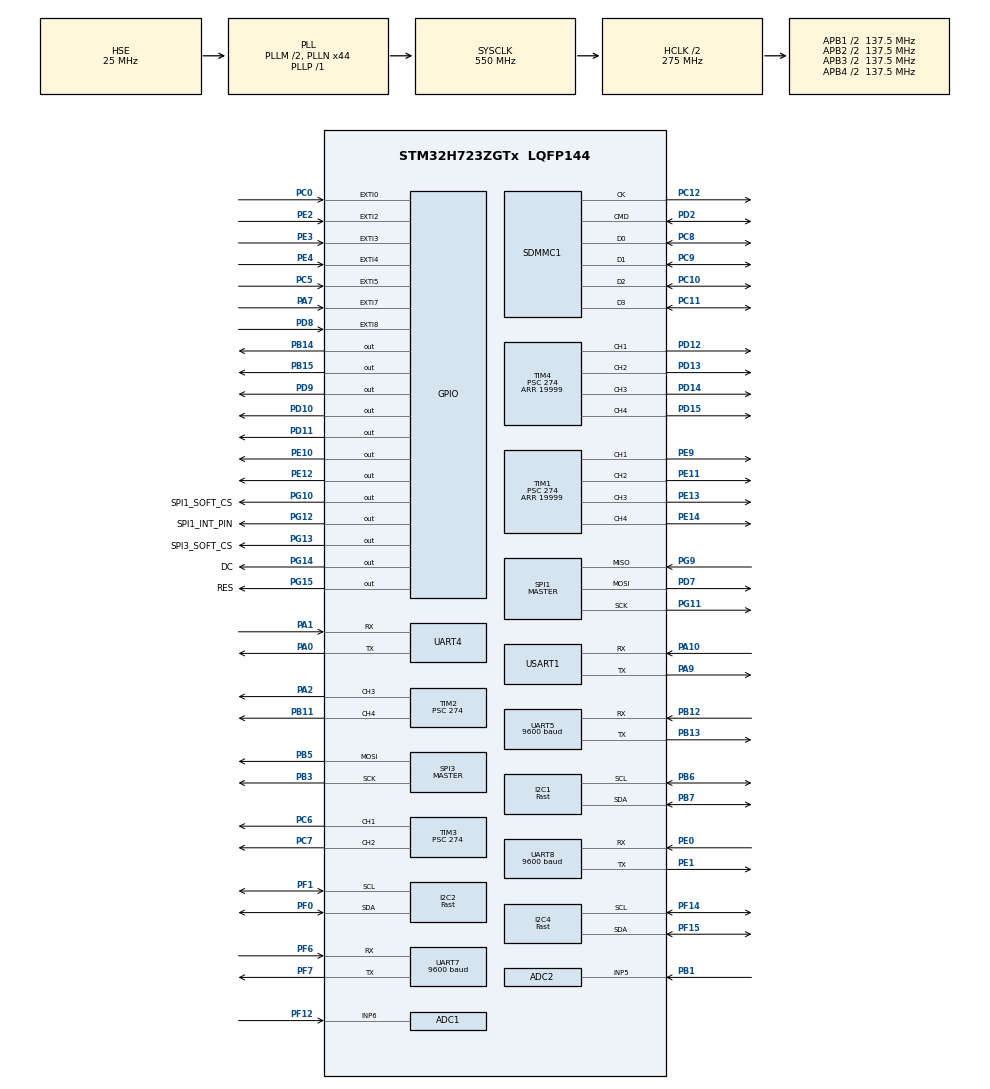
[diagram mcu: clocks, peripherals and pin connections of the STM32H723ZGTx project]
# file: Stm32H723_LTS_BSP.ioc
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ADC1.Channel-0\#ChannelRegularConversion=ADC_CHANNEL_6
ADC1.ClockPrescaler=ADC_CLOCK_ASYNC_DIV12
ADC1.DiscontinuousConvMode=DISABLE
ADC1.NbrOfConversionFlag=1
ADC1.OffsetNumber-0\#ChannelRegularConversion=ADC_OFFSET_NONE
ADC1.OffsetSignedSaturation-0\#ChannelRegularConversion=DISABLE
ADC1.Rank-0\#ChannelRegularConversion=1
ADC1.SamplingTime-0\#ChannelRegularConversion=ADC_SAMPLETIME_1CYCLE_5
ADC1.master=1
ADC2.Channel-1\#ChannelRegularConversion=ADC_CHANNEL_5
ADC2.ClockPrescaler=ADC_CLOCK_ASYNC_DIV12
ADC2.NbrOfConversionFlag=1
ADC2.OffsetNumber-1\#ChannelRegularConversion=ADC_OFFSET_NONE
ADC2.OffsetSignedSaturation-1\#ChannelRegularConversion=DISABLE
ADC2.Rank-1\#ChannelRegularConversion=1
ADC2.SamplingTime-1\#ChannelRegularConversion=ADC_SAMPLETIME_1CYCLE_5
CORTEX_M7.default_mode_Activation=1
Dma.Request0=SPI3_TX
Dma.SPI3_TX.0.Direction=DMA_MEMORY_TO_PERIPH
Dma.SPI3_TX.0.EventEnable=DISABLE
Dma.SPI3_TX.0.FIFOMode=DMA_FIFOMODE_DISABLE
Dma.SPI3_TX.0.Instance=DMA1_Stream0
Dma.SPI3_TX.0.MemDataAlignment=DMA_MDATAALIGN_BYTE
Dma.SPI3_TX.0.MemInc=DMA_MINC_ENABLE
Dma.SPI3_TX.0.Mode=DMA_NORMAL
Dma.SPI3_TX.0.PeriphDataAlignment=DMA_PDATAALIGN_BYTE
Dma.SPI3_TX.0.PeriphInc=DMA_PINC_DISABLE
Dma.SPI3_TX.0.Polarity=HAL_DMAMUX_REQ_GEN_RISING
Dma.SPI3_TX.0.Priority=DMA_PRIORITY_LOW
Dma.SPI3_TX.0.RequestNumber=1
Dma.SPI3_TX.0.SignalID=NONE
Dma.SPI3_TX.0.SyncEnable=DISABLE
Dma.SPI3_TX.0.SyncPolarity=HAL_DMAMUX_SYNC_NO_EVENT
Dma.SPI3_TX.0.SyncRequestNumber=1
Dma.SPI3_TX.0.SyncSignalID=NONE
I2C1.I2C_Speed_Mode=I2C_Fast
I2C1.Timing=0x00D049FB
I2C2.I2C_Speed_Mode=I2C_Fast
I2C2.Timing=0x00D049FB
I2C4.I2C_Speed_Mode=I2C_Fast
I2C4.Timing=0x00D049FB
Mcu.Family=STM32H7
Mcu.Name=STM32H723ZGTx
Mcu.Package=LQFP144
NVIC.DMA1_Stream0_IRQn=true\:0\:0\:false\:false\:true\:false\:true\:true
NVIC.EXTI0_IRQn=true\:5\:0\:true\:false\:true\:true\:true\:true
NVIC.EXTI2_IRQn=true\:5\:0\:true\:false\:true\:true\:true\:true
NVIC.EXTI3_IRQn=true\:5\:0\:true\:false\:true\:true\:true\:true
NVIC.EXTI4_IRQn=true\:5\:0\:true\:false\:true\:true\:true\:true
NVIC.EXTI9_5_IRQn=true\:5\:0\:true\:false\:true\:true\:true\:true
NVIC.PriorityGroup=NVIC_PRIORITYGROUP_4
NVIC.TIM1_UP_IRQn=true\:5\:0\:true\:false\:true\:true\:true\:true
NVIC.TIM8_UP_TIM13_IRQn=true\:1\:0\:true\:false\:true\:true\:true\:true
NVIC.UART4_IRQn=true\:4\:0\:true\:false\:true\:true\:true\:true
NVIC.UART5_IRQn=true\:4\:0\:true\:false\:true\:true\:true\:true
NVIC.UART7_IRQn=true\:4\:0\:true\:false\:true\:true\:true\:true
NVIC.USART1_IRQn=true\:0\:0\:false\:false\:true\:true\:true\:true
PA0.GPIO_PuPd=GPIO_PULLUP
PA0.Mode=Asynchronous
PA0.Signal=UART4_TX
PA1.GPIO_PuPd=GPIO_PULLUP
PA1.Mode=Asynchronous
PA1.Signal=UART4_RX
PA10.GPIO_ModeDefaultPP=GPIO_MODE_AF_PP
PA10.GPIO_PuPd=GPIO_NOPULL
PA10.GPIO_Speed=GPIO_SPEED_FREQ_LOW
PA10.Mode=Asynchronous
PA10.Signal=USART1_RX
PA2.GPIO_PuPd=GPIO_PULLUP
PA2.Signal=S_TIM2_CH3
PA7.GPIO_ModeDefaultEXTI=GPIO_MODE_IT_FALLING
PA7.GPIO_PuPd=GPIO_PULLUP
PA7.Signal=GPXTI7
PA9.GPIO_ModeDefaultPP=GPIO_MODE_AF_PP
PA9.GPIO_PuPd=GPIO_NOPULL
PA9.GPIO_Speed=GPIO_SPEED_FREQ_LOW
PA9.Mode=Asynchronous
PA9.Signal=USART1_TX
PB1.Signal=ADCx_INP5
PB11.GPIO_PuPd=GPIO_PULLUP
PB11.Signal=S_TIM2_CH4
PB12.GPIO_PuPd=GPIO_PULLUP
PB12.Mode=Asynchronous
PB12.Signal=UART5_RX
PB13.GPIO_PuPd=GPIO_PULLUP
PB13.Mode=Asynchronous
PB13.Signal=UART5_TX
PB14.GPIO_PuPd=GPIO_PULLUP
PB14.Signal=GPIO_Output
PB15.GPIO_PuPd=GPIO_PULLUP
PB15.Signal=GPIO_Output
PB3(JTDO/TRACESWO).Mode=TX_Only_Simplex_Unidirect_Master
PB3(JTDO/TRACESWO).Signal=SPI3_SCK
PB5.Mode=TX_Only_Simplex_Unidirect_Master
PB5.Signal=SPI3_MOSI
PB6.GPIO_Mode=GPIO_MODE_AF_OD
PB6.GPIO_Pu=GPIO_PULLUP
PB6.GPIO_Speed=GPIO_SPEED_FREQ_HIGH
PB6.Mode=I2C
PB6.Signal=I2C1_SCL
PB7.GPIO_Mode=GPIO_MODE_AF_OD
PB7.GPIO_Pu=GPIO_PULLUP
PB7.GPIO_Speed=GPIO_SPEED_FREQ_HIGH
PB7.Mode=I2C
PB7.Signal=I2C1_SDA
PC0.GPIO_ModeDefaultEXTI=GPIO_MODE_IT_FALLING
PC0.GPIO_PuPd=GPIO_PULLUP
PC0.Signal=GPXTI0
PC10.Mode=SD_4_bits_Wide_bus
PC10.Signal=SDMMC1_D2
PC11.Mode=SD_4_bits_Wide_bus
PC11.Signal=SDMMC1_D3
PC12.Mode=SD_4_bits_Wide_bus
PC12.Signal=SDMMC1_CK
PC14-OSC32_IN.Mode=LSE-External-Oscillator
PC14-OSC32_IN.Signal=RCC_OSC32_IN
PC15-OSC32_OUT.Mode=LSE-External-Oscillator
PC15-OSC32_OUT.Signal=RCC_OSC32_OUT
PC5.GPIO_PuPd=GPIO_PULLUP
PC5.Signal=GPXTI5
PC6.GPIO_PuPd=GPIO_PULLUP
PC6.Signal=S_TIM3_CH1
PC7.GPIO_PuPd=GPIO_PULLUP
PC7.Signal=S_TIM3_CH2
PC8.Mode=SD_4_bits_Wide_bus
PC8.Signal=SDMMC1_D0
PC9.Mode=SD_4_bits_Wide_bus
PC9.Signal=SDMMC1_D1
PD10.GPIO_PuPd=GPIO_PULLUP
PD10.Signal=GPIO_Output
PD11.GPIO_PuPd=GPIO_PULLUP
PD11.Signal=GPIO_Output
PD12.Signal=S_TIM4_CH1
PD13.Signal=S_TIM4_CH2
PD14.GPIO_PuPd=GPIO_PULLUP
PD14.Signal=S_TIM4_CH3
PD15.GPIO_PuPd=GPIO_PULLUP
PD15.Signal=S_TIM4_CH4
PD2.Mode=SD_4_bits_Wide_bus
PD2.Signal=SDMMC1_CMD
PD7.Mode=Full_Duplex_Master
PD7.Signal=SPI1_MOSI
PD8.GPIO_ModeDefaultEXTI=GPIO_MODE_IT_FALLING
PD8.GPIO_PuPd=GPIO_PULLDOWN
PD8.Signal=GPXTI8
PD9.GPIO_PuPd=GPIO_PULLUP
PD9.Signal=GPIO_Output
PE0.GPIO_PuPd=GPIO_PULLUP
PE0.Mode=Asynchronous
PE0.Signal=UART8_RX
PE1.GPIO_PuPd=GPIO_PULLUP
PE1.Mode=Asynchronous
PE1.Signal=UART8_TX
PE10.GPIO_PuPd=GPIO_PULLUP
PE10.Signal=GPIO_Output
PE11.GPIO_PuPd=GPIO_PULLUP
PE11.Signal=S_TIM1_CH2
PE12.GPIO_PuPd=GPIO_PULLUP
PE12.Signal=GPIO_Output
PE13.GPIO_PuPd=GPIO_PULLUP
PE13.Signal=S_TIM1_CH3
PE14.GPIO_PuPd=GPIO_PULLUP
PE14.Signal=S_TIM1_CH4
PE2.GPIO_ModeDefaultEXTI=GPIO_MODE_IT_RISING
PE2.GPIO_PuPd=GPIO_PULLUP
PE2.Signal=GPXTI2
PE3.GPIO_ModeDefaultEXTI=GPIO_MODE_IT_RISING
PE3.GPIO_PuPd=GPIO_PULLUP
PE3.Signal=GPXTI3
PE4.GPIO_ModeDefaultEXTI=GPIO_MODE_IT_RISING
PE4.GPIO_PuPd=GPIO_PULLUP
PE4.Signal=GPXTI4
PE9.GPIO_PuPd=GPIO_PULLUP
PE9.Signal=S_TIM1_CH1
PF0.GPIO_Pu=GPIO_PULLUP
PF0.GPIO_Speed=GPIO_SPEED_FREQ_HIGH
PF0.Mode=I2C
PF0.Signal=I2C2_SDA
PF1.GPIO_Pu=GPIO_PULLUP
PF1.GPIO_Speed=GPIO_SPEED_FREQ_HIGH
PF1.Mode=I2C
PF1.Signal=I2C2_SCL
PF12.Mode=IN6-Single-Ended
PF12.Signal=ADC1_INP6
PF14.GPIO_Pu=GPIO_PULLUP
PF14.GPIO_Speed=GPIO_SPEED_FREQ_HIGH
PF14.Mode=I2C
PF14.Signal=I2C4_SCL
PF15.GPIO_Pu=GPIO_PULLUP
PF15.GPIO_Speed=GPIO_SPEED_FREQ_HIGH
PF15.Mode=I2C
PF15.Signal=I2C4_SDA
PF6.GPIO_PuPd=GPIO_PULLUP
PF6.Mode=Asynchronous
PF6.Signal=UART7_RX
PF7.GPIO_PuPd=GPIO_PULLUP
PF7.Mode=Asynchronous
PF7.Signal=UART7_TX
PG10.GPIO_Label=SPI1_SOFT_CS
PG10.GPIO_ModeDefaultOutputPP=GPIO_MODE_OUTPUT_PP
PG10.GPIO_PuPd=GPIO_PULLUP
PG10.GPIO_Speed=GPIO_SPEED_FREQ_HIGH
PG10.PinState=GPIO_PIN_SET
PG10.Signal=GPIO_Output
PG11.Mode=Full_Duplex_Master
PG11.Signal=SPI1_SCK
PG12.GPIO_Label=SPI1_INT_PIN
PG12.GPIO_PuPd=GPIO_PULLUP
PG12.GPIO_Speed=GPIO_SPEED_FREQ_HIGH
PG12.PinState=GPIO_PIN_SET
PG12.Signal=GPIO_Output
PG13.GPIO_Label=SPI3_SOFT_CS
PG13.GPIO_PuPd=GPIO_PULLUP
PG13.GPIO_Speed=GPIO_SPEED_FREQ_HIGH
PG13.PinState=GPIO_PIN_SET
PG13.Signal=GPIO_Output
PG14.GPIO_Label=DC
PG14.GPIO_PuPd=GPIO_PULLUP
PG14.GPIO_Speed=GPIO_SPEED_FREQ_HIGH
PG14.PinState=GPIO_PIN_SET
PG14.Signal=GPIO_Output
PG15.GPIO_Label=RES
PG15.GPIO_ModeDefaultOutputPP=GPIO_MODE_OUTPUT_PP
PG15.GPIO_PuPd=GPIO_PULLUP
PG15.GPIO_Speed=GPIO_SPEED_FREQ_HIGH
PG15.PinState=GPIO_PIN_SET
PG15.Signal=GPIO_Output
PG9.Mode=Full_Duplex_Master
PG9.Signal=SPI1_MISO
PH0-OSC_IN.Mode=HSE-External-Oscillator
PH0-OSC_IN.Signal=RCC_OSC_IN
PH1-OSC_OUT.Mode=HSE-External-Oscillator
PH1-OSC_OUT.Signal=RCC_OSC_OUT
ProjectManager.HeapSize=0x400
ProjectManager.StackSize=0x800
ProjectManager.TargetToolchain=Makefile
RCC.ADCCLockSelection=RCC_ADCCLKSOURCE_PLL3
RCC.ADCFreq_Value=96000671.38671875
RCC.APB1Freq_Value=137500000
RCC.APB2Freq_Value=137500000
RCC.APB3Freq_Value=137500000
RCC.APB4Freq_Value=137500000
RCC.CortexFreq_Value=550000000
RCC.D1PPRE=RCC_APB3_DIV2
RCC.D2PPRE1=RCC_APB1_DIV2
RCC.D2PPRE2=RCC_APB2_DIV2
RCC.D3PPRE=RCC_APB4_DIV2
RCC.DIVM1=2
RCC.DIVM3=2
RCC.DIVN1=44
RCC.DIVN3=15
RCC.DIVP1=1
RCC.DIVQ1=3
RCC.HCLKFreq_Value=275000000
RCC.HPRE=RCC_HCLK_DIV2
RCC.PLL2FRACN=0
RCC.PLL3FRACN=2950
RCC.PLLFRACN=0
RCC.PLLSourceVirtual=RCC_PLLSOURCE_HSE
RCC.SYSCLKFreq_VALUE=550000000
RCC.SYSCLKSource=RCC_SYSCLKSOURCE_PLLCLK
RCC.USBFreq_Value=183333333.33333334
SH.ADCx_INP5.0=ADC2_INP5,IN5-Single-Ended
SH.S_TIM1_CH1.0=TIM1_CH1,PWM Generation1 CH1
SH.S_TIM1_CH2.0=TIM1_CH2,PWM Generation2 CH2
SH.S_TIM1_CH3.0=TIM1_CH3,PWM Generation3 CH3
SH.S_TIM1_CH4.0=TIM1_CH4,PWM Generation4 CH4
SH.S_TIM2_CH3.0=TIM2_CH3,PWM Generation3 CH3
SH.S_TIM2_CH4.0=TIM2_CH4,PWM Generation4 CH4
SH.S_TIM3_CH1.0=TIM3_CH1,PWM Generation1 CH1
SH.S_TIM3_CH2.0=TIM3_CH2,PWM Generation2 CH2
SH.S_TIM4_CH1.0=TIM4_CH1,PWM Generation1 CH1
SH.S_TIM4_CH2.0=TIM4_CH2,PWM Generation2 CH2
SH.S_TIM4_CH3.0=TIM4_CH3,PWM Generation3 CH3
SH.S_TIM4_CH4.0=TIM4_CH4,PWM Generation4 CH4
SPI1.BaudRatePrescaler=SPI_BAUDRATEPRESCALER_8
SPI1.CalculateBaudRate=22.916666 MBits/s
SPI1.DataSize=SPI_DATASIZE_8BIT
SPI1.Direction=SPI_DIRECTION_2LINES
SPI1.Mode=SPI_MODE_MASTER
SPI1.VirtualType=VM_MASTER
SPI3.BaudRatePrescaler=SPI_BAUDRATEPRESCALER_8
SPI3.CalculateBaudRate=22.916666 MBits/s
SPI3.DataSize=SPI_DATASIZE_8BIT
SPI3.Direction=SPI_DIRECTION_2LINES_TXONLY
SPI3.Mode=SPI_MODE_MASTER
SPI3.VirtualType=VM_MASTER
STMicroelectronics.X-CUBE-ALGOBUILD.1.3.0.LibraryCcDSPOoLibraryJjDSPOoLibrary=true
TIM1.AutoReloadPreload=TIM_AUTORELOAD_PRELOAD_ENABLE
TIM1.Channel-PWM\ Generation1\ CH1=TIM_CHANNEL_1
TIM1.Channel-PWM\ Generation2\ CH2=TIM_CHANNEL_2
TIM1.Channel-PWM\ Generation3\ CH3=TIM_CHANNEL_3
TIM1.Channel-PWM\ Generation4\ CH4=TIM_CHANNEL_4
TIM1.Period=19999
TIM1.Prescaler=274
TIM1.Pulse-PWM\ Generation1\ CH1=1295
TIM1.Pulse-PWM\ Generation2\ CH2=2499
TIM1.Pulse-PWM\ Generation3\ CH3=2499
TIM1.Pulse-PWM\ Generation4\ CH4=1998
TIM1.TIM_MasterOutputTrigger=TIM_TRGO_RESET
TIM1.TIM_MasterOutputTrigger2=TIM_TRGO2_RESET
TIM1.TIM_MasterSlaveMode=TIM_MASTERSLAVEMODE_DISABLE
TIM2.AutoReloadPreload=TIM_AUTORELOAD_PRELOAD_ENABLE
TIM2.Channel-PWM\ Generation3\ CH3=TIM_CHANNEL_3
TIM2.Channel-PWM\ Generation4\ CH4=TIM_CHANNEL_4
TIM2.Period=19999
TIM2.Prescaler=274
TIM2.Pulse-PWM\ Generation3\ CH3=1499
TIM2.Pulse-PWM\ Generation4\ CH4=1499
TIM2.TIM_MasterOutputTrigger=TIM_TRGO_UPDATE
TIM2.TIM_MasterSlaveMode=TIM_MASTERSLAVEMODE_ENABLE
TIM3.AutoReloadPreload=TIM_AUTORELOAD_PRELOAD_ENABLE
TIM3.Channel-PWM\ Generation1\ CH1=TIM_CHANNEL_1
TIM3.Channel-PWM\ Generation2\ CH2=TIM_CHANNEL_2
TIM3.Period=19999
TIM3.Prescaler=274
TIM3.Pulse-PWM\ Generation1\ CH1=1499
TIM3.Pulse-PWM\ Generation2\ CH2=1499
TIM3.TIM_MasterOutputTrigger=TIM_TRGO_UPDATE
TIM3.TIM_MasterSlaveMode=TIM_MASTERSLAVEMODE_ENABLE
TIM4.AutoReloadPreload=TIM_AUTORELOAD_PRELOAD_ENABLE
TIM4.Channel-PWM\ Generation1\ CH1=TIM_CHANNEL_1
TIM4.Channel-PWM\ Generation2\ CH2=TIM_CHANNEL_2
TIM4.Channel-PWM\ Generation3\ CH3=TIM_CHANNEL_3
TIM4.Channel-PWM\ Generation4\ CH4=TIM_CHANNEL_4
TIM4.Period=19999
TIM4.Prescaler=274
TIM4.Pulse-PWM\ Generation3\ CH3=1499
TIM4.Pulse-PWM\ Generation4\ CH4=1499
TIM4.TIM_MasterOutputTrigger=TIM_TRGO_UPDATE
TIM4.TIM_MasterSlaveMode=TIM_MASTERSLAVEMODE_ENABLE
TIM8.AutoReloadPreload=TIM_AUTORELOAD_PRELOAD_ENABLE
TIM8.Period=100
TIM8.TIM_MasterOutputTrigger=TIM_TRGO_RESET
TIM8.TIM_MasterSlaveMode=TIM_MASTERSLAVEMODE_DISABLE
UART5.BaudRate=9600
UART7.BaudRate=9600
UART8.BaudRate=9600
USART1.VirtualMode-Asynchronous=VM_ASYNC
VP_STMicroelectronics.X-CUBE-ALGOBUILD_VS_DSPOoLibraryJjLibrary_1.3.0_1.3.0.Mode=DSPOoLibraryJjLibrary
VP_TIM8_VS_ClockSourceITR.Mode=TriggerSource_ITR0
VP_TIM8_VS_ControllerModeClock.Mode=Clock Mode
board=custom

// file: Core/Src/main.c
/* USER CODE BEGIN Header */
/**
  ******************************************************************************
  * @file           : main.c
  * @brief          : Main program body
  ******************************************************************************
  * @attention
  *
  * Copyright (c) 2025 STMicroelectronics.
  * All rights reserved.
  *
  * This software is licensed under terms that can be found in the LICENSE file
  * in the root directory of this software component.
  * If no LICENSE file comes with this software, it is provided AS-IS.
  *
  ******************************************************************************
  */
/* USER CODE END Header */
#include "main.h"

/* USER CODE BEGIN Includes */
#include "yzx_base.h"
#include "yz_tim.h"
#include "yzf_nvic.h"
#include "yz_uart.h"
#include "mjson.h"
/* USER CODE END Includes */

 ADC_HandleTypeDef hadc1;
ADC_HandleTypeDef hadc2;

I2C_HandleTypeDef hi2c1;
I2C_HandleTypeDef hi2c2;
I2C_HandleTypeDef hi2c4;

SD_HandleTypeDef hsd1;

SPI_HandleTypeDef hspi1;
SPI_HandleTypeDef hspi3;
DMA_HandleTypeDef hdma_spi3_tx;

TIM_HandleTypeDef htim1;
TIM_HandleTypeDef htim2;
TIM_HandleTypeDef htim3;
TIM_HandleTypeDef htim4;
TIM_HandleTypeDef htim8;

UART_HandleTypeDef huart4;
UART_HandleTypeDef huart5;
UART_HandleTypeDef huart7;
UART_HandleTypeDef huart8;
UART_HandleTypeDef huart1;

/* USER CODE BEGIN PV */
uint32_t tim1_ch1_duty=9999;
uint32_t tim1_ch2_duty=2499;
uint32_t tim1_ch3_duty=2499;
uint32_t tim1_ch4_duty=1998;
uint32_t tim3_ch1_duty=499;
uint32_t tim3_ch2_duty=1499;
/* USER CODE END PV */

void SystemClock_Config(void);
void PeriphCommonClock_Config(void);
static void MPU_Config(void);
static void MX_GPIO_Init(void);
static void MX_USART1_UART_Init(void);
static void MX_SDMMC1_SD_Init(void);
static void MX_SPI1_Init(void);
static void MX_DMA_Init(void);
static void MX_TIM1_Init(void);
static void MX_SPI3_Init(void);
static void MX_TIM2_Init(void);
static void MX_TIM4_Init(void);
static void MX_TIM3_Init(void);
static void MX_TIM8_Init(void);
static void MX_UART4_Init(void);
static void MX_UART5_Init(void);
static void MX_ADC1_Init(void);
static void MX_ADC2_Init(void);
static void MX_I2C1_Init(void);
static void MX_I2C2_Init(void);
static void MX_I2C4_Init(void);
static void MX_UART7_Init(void);
static void MX_UART8_Init(void);

/* USER CODE BEGIN 0 */
extern YZF_RESULT (*it_irq_handler)();
/* USER CODE END 0 */

int main(void)
{

  /* MPU Configuration--------------------------------------------------------*/
  MPU_Config();

  /* MCU Configuration--------------------------------------------------------*/

  /* Reset of all peripherals, Initializes the Flash interface and the Systick. */
  HAL_Init();

  /* Configure the system clock */
  SystemClock_Config();

/* Configure the peripherals common clocks */
  PeriphCommonClock_Config();

  /* Initialize all configured peripherals */
  MX_GPIO_Init();
  MX_USART1_UART_Init();
  MX_SDMMC1_SD_Init();
  MX_SPI1_Init();
  MX_DMA_Init();
  MX_TIM1_Init();
  MX_SPI3_Init();
  MX_TIM2_Init();
  MX_TIM4_Init();
  MX_TIM3_Init();
  MX_TIM8_Init();
  MX_UART4_Init();
  MX_UART5_Init();
  MX_ADC1_Init();
  MX_ADC2_Init();
  MX_I2C1_Init();
  MX_I2C2_Init();
  MX_I2C4_Init();
  MX_UART7_Init();
  MX_UART8_Init();
  /* USER CODE BEGIN 2 */
//    HAL_Delay(3000); ���ø�����ͷ����

//    yz_uart_init(USART1,YZF_UART_LENGTH_8,0,119200,YZF_FALSE);

    HAL_GPIO_WritePin(GPIOE,GPIO_PIN_10,GPIO_PIN_SET);
    HAL_Delay(1);
    HAL_GPIO_WritePin(GPIOD,GPIO_PIN_9,GPIO_PIN_RESET);
    HAL_Delay(10);

    yz_hal_set_uart1(&huart1);
    yz_hal_set_spi1(&hspi1);
    yz_hal_set_sdmmc1(&hsd1);
    yz_hal_set_spi3(&hspi3);
    uint8_t status;
    yz_tim_pwm_start_and_data_set(TIM3,1,274,999+600,19999);
    yz_tim_pwm_start_and_data_set(TIM3,2,274,999,19999-70);//-70
    yz_tim_pwm_start_and_data_set(TIM2,3,274,499,19999);
    yz_tim_pwm_start_and_data_set(TIM2,4,274,499,19999);
    core_main();
  /* USER CODE END 2 */

  /* Infinite loop */
  while (1)
  {

  }
}

void SystemClock_Config(void)
{
  RCC_OscInitTypeDef RCC_OscInitStruct = {0};
  RCC_ClkInitTypeDef RCC_ClkInitStruct = {0};

  /** Supply configuration update enable
  */
  HAL_PWREx_ConfigSupply(PWR_LDO_SUPPLY);

  /** Configure the main internal regulator output voltage
  */
  __HAL_PWR_VOLTAGESCALING_CONFIG(PWR_REGULATOR_VOLTAGE_SCALE0);

  while(!__HAL_PWR_GET_FLAG(PWR_FLAG_VOSRDY)) {}

  /** Macro to configure the PLL clock source
  */
  __HAL_RCC_PLL_PLLSOURCE_CONFIG(RCC_PLLSOURCE_HSE);

  /** Initializes the RCC Oscillators according to the specified parameters
  * in the RCC_OscInitTypeDef structure.
  */
  RCC_OscInitStruct.OscillatorType = RCC_OSCILLATORTYPE_HSE;
  RCC_OscInitStruct.HSEState = RCC_HSE_ON;
  RCC_OscInitStruct.PLL.PLLState = RCC_PLL_ON;
  RCC_OscInitStruct.PLL.PLLSource = RCC_PLLSOURCE_HSE;
  RCC_OscInitStruct.PLL.PLLM = 2;
  RCC_OscInitStruct.PLL.PLLN = 44;
  RCC_OscInitStruct.PLL.PLLP = 1;
  RCC_OscInitStruct.PLL.PLLQ = 3;
  RCC_OscInitStruct.PLL.PLLR = 2;
  RCC_OscInitStruct.PLL.PLLRGE = RCC_PLL1VCIRANGE_3;
  RCC_OscInitStruct.PLL.PLLVCOSEL = RCC_PLL1VCOWIDE;
  RCC_OscInitStruct.PLL.PLLFRACN = 0;
  if (HAL_RCC_OscConfig(&RCC_OscInitStruct) != HAL_OK)
  {
    Error_Handler();
  }

  /** Initializes the CPU, AHB and APB buses clocks
  */
  RCC_ClkInitStruct.ClockType = RCC_CLOCKTYPE_HCLK|RCC_CLOCKTYPE_SYSCLK
                              |RCC_CLOCKTYPE_PCLK1|RCC_CLOCKTYPE_PCLK2
                              |RCC_CLOCKTYPE_D3PCLK1|RCC_CLOCKTYPE_D1PCLK1;
  RCC_ClkInitStruct.SYSCLKSource = RCC_SYSCLKSOURCE_PLLCLK;
  RCC_ClkInitStruct.SYSCLKDivider = RCC_SYSCLK_DIV1;
  RCC_ClkInitStruct.AHBCLKDivider = RCC_HCLK_DIV2;
  RCC_ClkInitStruct.APB3CLKDivider = RCC_APB3_DIV2;
  RCC_ClkInitStruct.APB1CLKDivider = RCC_APB1_DIV2;
  RCC_ClkInitStruct.APB2CLKDivider = RCC_APB2_DIV2;
  RCC_ClkInitStruct.APB4CLKDivider = RCC_APB4_DIV2;

  if (HAL_RCC_ClockConfig(&RCC_ClkInitStruct, FLASH_LATENCY_3) != HAL_OK)
  {
    Error_Handler();
  }
}

void PeriphCommonClock_Config(void)
{
  RCC_PeriphCLKInitTypeDef PeriphClkInitStruct = {0};

  /** Initializes the peripherals clock
  */
  PeriphClkInitStruct.PeriphClockSelection = RCC_PERIPHCLK_ADC;
  PeriphClkInitStruct.PLL3.PLL3M = 2;
  PeriphClkInitStruct.PLL3.PLL3N = 15;
  PeriphClkInitStruct.PLL3.PLL3P = 2;
  PeriphClkInitStruct.PLL3.PLL3Q = 2;
  PeriphClkInitStruct.PLL3.PLL3R = 2;
  PeriphClkInitStruct.PLL3.PLL3RGE = RCC_PLL3VCIRANGE_3;
  PeriphClkInitStruct.PLL3.PLL3VCOSEL = RCC_PLL3VCOWIDE;
  PeriphClkInitStruct.PLL3.PLL3FRACN = 2950;
  PeriphClkInitStruct.AdcClockSelection = RCC_ADCCLKSOURCE_PLL3;
  if (HAL_RCCEx_PeriphCLKConfig(&PeriphClkInitStruct) != HAL_OK)
  {
    Error_Handler();
  }
}

static void MX_ADC1_Init(void)
{

  ADC_MultiModeTypeDef multimode = {0};
  ADC_ChannelConfTypeDef sConfig = {0};

  /** Common config
  */
  hadc1.Instance = ADC1;
  hadc1.Init.ClockPrescaler = ADC_CLOCK_ASYNC_DIV12;
  hadc1.Init.Resolution = ADC_RESOLUTION_16B;
  hadc1.Init.ScanConvMode = ADC_SCAN_DISABLE;
  hadc1.Init.EOCSelection = ADC_EOC_SINGLE_CONV;
  hadc1.Init.LowPowerAutoWait = DISABLE;
  hadc1.Init.ContinuousConvMode = DISABLE;
  hadc1.Init.NbrOfConversion = 1;
  hadc1.Init.DiscontinuousConvMode = DISABLE;
  hadc1.Init.ExternalTrigConv = ADC_SOFTWARE_START;
  hadc1.Init.ExternalTrigConvEdge = ADC_EXTERNALTRIGCONVEDGE_NONE;
  hadc1.Init.ConversionDataManagement = ADC_CONVERSIONDATA_DR;
  hadc1.Init.Overrun = ADC_OVR_DATA_PRESERVED;
  hadc1.Init.LeftBitShift = ADC_LEFTBITSHIFT_NONE;
  hadc1.Init.OversamplingMode = DISABLE;
  if (HAL_ADC_Init(&hadc1) != HAL_OK)
  {
    Error_Handler();
  }

  /** Configure the ADC multi-mode
  */
  multimode.Mode = ADC_MODE_INDEPENDENT;
  if (HAL_ADCEx_MultiModeConfigChannel(&hadc1, &multimode) != HAL_OK)
  {
    Error_Handler();
  }

  /** Configure Regular Channel
  */
  sConfig.Channel = ADC_CHANNEL_6;
  sConfig.Rank = ADC_REGULAR_RANK_1;
  sConfig.SamplingTime = ADC_SAMPLETIME_1CYCLE_5;
  sConfig.SingleDiff = ADC_SINGLE_ENDED;
  sConfig.OffsetNumber = ADC_OFFSET_NONE;
  sConfig.Offset = 0;
  sConfig.OffsetSignedSaturation = DISABLE;
  if (HAL_ADC_ConfigChannel(&hadc1, &sConfig) != HAL_OK)
  {
    Error_Handler();
  }

}

static void MX_ADC2_Init(void)
{

  ADC_ChannelConfTypeDef sConfig = {0};

  /** Common config
  */
  hadc2.Instance = ADC2;
  hadc2.Init.ClockPrescaler = ADC_CLOCK_ASYNC_DIV12;
  hadc2.Init.Resolution = ADC_RESOLUTION_16B;
  hadc2.Init.ScanConvMode = ADC_SCAN_DISABLE;
  hadc2.Init.EOCSelection = ADC_EOC_SINGLE_CONV;
  hadc2.Init.LowPowerAutoWait = DISABLE;
  hadc2.Init.ContinuousConvMode = DISABLE;
  hadc2.Init.NbrOfConversion = 1;
  hadc2.Init.DiscontinuousConvMode = DISABLE;
  hadc2.Init.ExternalTrigConv = ADC_SOFTWARE_START;
  hadc2.Init.ExternalTrigConvEdge = ADC_EXTERNALTRIGCONVEDGE_NONE;
  hadc2.Init.ConversionDataManagement = ADC_CONVERSIONDATA_DR;
  hadc2.Init.Overrun = ADC_OVR_DATA_PRESERVED;
  hadc2.Init.LeftBitShift = ADC_LEFTBITSHIFT_NONE;
  hadc2.Init.OversamplingMode = DISABLE;
  if (HAL_ADC_Init(&hadc2) != HAL_OK)
  {
    Error_Handler();
  }

  /** Configure Regular Channel
  */
  sConfig.Channel = ADC_CHANNEL_5;
  sConfig.Rank = ADC_REGULAR_RANK_1;
  sConfig.SamplingTime = ADC_SAMPLETIME_1CYCLE_5;
  sConfig.SingleDiff = ADC_SINGLE_ENDED;
  sConfig.OffsetNumber = ADC_OFFSET_NONE;
  sConfig.Offset = 0;
  sConfig.OffsetSignedSaturation = DISABLE;
  if (HAL_ADC_ConfigChannel(&hadc2, &sConfig) != HAL_OK)
  {
    Error_Handler();
  }

}

static void MX_I2C1_Init(void)
{

  hi2c1.Instance = I2C1;
  hi2c1.Init.Timing = 0x00D049FB;
  hi2c1.Init.OwnAddress1 = 0;
  hi2c1.Init.AddressingMode = I2C_ADDRESSINGMODE_7BIT;
  hi2c1.Init.DualAddressMode = I2C_DUALADDRESS_DISABLE;
  hi2c1.Init.OwnAddress2 = 0;
  hi2c1.Init.OwnAddress2Masks = I2C_OA2_NOMASK;
  hi2c1.Init.GeneralCallMode = I2C_GENERALCALL_DISABLE;
  hi2c1.Init.NoStretchMode = I2C_NOSTRETCH_DISABLE;
  if (HAL_I2C_Init(&hi2c1) != HAL_OK)
  {
    Error_Handler();
  }

  /** Configure Analogue filter
  */
  if (HAL_I2CEx_ConfigAnalogFilter(&hi2c1, I2C_ANALOGFILTER_ENABLE) != HAL_OK)
  {
    Error_Handler();
  }

  /** Configure Digital filter
  */
  if (HAL_I2CEx_ConfigDigitalFilter(&hi2c1, 0) != HAL_OK)
  {
    Error_Handler();
  }

}

static void MX_I2C2_Init(void)
{

  hi2c2.Instance = I2C2;
  hi2c2.Init.Timing = 0x00D049FB;
  hi2c2.Init.OwnAddress1 = 0;
  hi2c2.Init.AddressingMode = I2C_ADDRESSINGMODE_7BIT;
  hi2c2.Init.DualAddressMode = I2C_DUALADDRESS_DISABLE;
  hi2c2.Init.OwnAddress2 = 0;
  hi2c2.Init.OwnAddress2Masks = I2C_OA2_NOMASK;
  hi2c2.Init.GeneralCallMode = I2C_GENERALCALL_DISABLE;
  hi2c2.Init.NoStretchMode = I2C_NOSTRETCH_DISABLE;
  if (HAL_I2C_Init(&hi2c2) != HAL_OK)
  {
    Error_Handler();
  }

  /** Configure Analogue filter
  */
  if (HAL_I2CEx_ConfigAnalogFilter(&hi2c2, I2C_ANALOGFILTER_ENABLE) != HAL_OK)
  {
    Error_Handler();
  }

  /** Configure Digital filter
  */
  if (HAL_I2CEx_ConfigDigitalFilter(&hi2c2, 0) != HAL_OK)
  {
    Error_Handler();
  }

}

static void MX_I2C4_Init(void)
{

  hi2c4.Instance = I2C4;
  hi2c4.Init.Timing = 0x00D049FB;
  hi2c4.Init.OwnAddress1 = 0;
  hi2c4.Init.AddressingMode = I2C_ADDRESSINGMODE_7BIT;
  hi2c4.Init.DualAddressMode = I2C_DUALADDRESS_DISABLE;
  hi2c4.Init.OwnAddress2 = 0;
  hi2c4.Init.OwnAddress2Masks = I2C_OA2_NOMASK;
  hi2c4.Init.GeneralCallMode = I2C_GENERALCALL_DISABLE;
  hi2c4.Init.NoStretchMode = I2C_NOSTRETCH_DISABLE;
  if (HAL_I2C_Init(&hi2c4) != HAL_OK)
  {
    Error_Handler();
  }

  /** Configure Analogue filter
  */
  if (HAL_I2CEx_ConfigAnalogFilter(&hi2c4, I2C_ANALOGFILTER_ENABLE) != HAL_OK)
  {
    Error_Handler();
  }

  /** Configure Digital filter
  */
  if (HAL_I2CEx_ConfigDigitalFilter(&hi2c4, 0) != HAL_OK)
  {
    Error_Handler();
  }

}

static void MX_SDMMC1_SD_Init(void)
{

  hsd1.Instance = SDMMC1;
  hsd1.Init.ClockEdge = SDMMC_CLOCK_EDGE_RISING;
  hsd1.Init.ClockPowerSave = SDMMC_CLOCK_POWER_SAVE_DISABLE;
  hsd1.Init.BusWide = SDMMC_BUS_WIDE_4B;
  hsd1.Init.HardwareFlowControl = SDMMC_HARDWARE_FLOW_CONTROL_DISABLE;
  hsd1.Init.ClockDiv = 0;
  if (HAL_SD_Init(&hsd1) != HAL_OK)
  {
    Error_Handler();
  }

}

static void MX_SPI1_Init(void)
{

  /* SPI1 parameter configuration*/
  hspi1.Instance = SPI1;
  hspi1.Init.Mode = SPI_MODE_MASTER;
  hspi1.Init.Direction = SPI_DIRECTION_2LINES;
  hspi1.Init.DataSize = SPI_DATASIZE_8BIT;
  hspi1.Init.CLKPolarity = SPI_POLARITY_LOW;
  hspi1.Init.CLKPhase = SPI_PHASE_1EDGE;
  hspi1.Init.NSS = SPI_NSS_SOFT;
  hspi1.Init.BaudRatePrescaler = SPI_BAUDRATEPRESCALER_8;
  hspi1.Init.FirstBit = SPI_FIRSTBIT_MSB;
  hspi1.Init.TIMode = SPI_TIMODE_DISABLE;
  hspi1.Init.CRCCalculation = SPI_CRCCALCULATION_DISABLE;
  hspi1.Init.CRCPolynomial = 0x0;
  hspi1.Init.NSSPMode = SPI_NSS_PULSE_ENABLE;
  hspi1.Init.NSSPolarity = SPI_NSS_POLARITY_LOW;
  hspi1.Init.FifoThreshold = SPI_FIFO_THRESHOLD_01DATA;
  hspi1.Init.TxCRCInitializationPattern = SPI_CRC_INITIALIZATION_ALL_ZERO_PATTERN;
  hspi1.Init.RxCRCInitializationPattern = SPI_CRC_INITIALIZATION_ALL_ZERO_PATTERN;
  hspi1.Init.MasterSSIdleness = SPI_MASTER_SS_IDLENESS_00CYCLE;
  hspi1.Init.MasterInterDataIdleness = SPI_MASTER_INTERDATA_IDLENESS_00CYCLE;
  hspi1.Init.MasterReceiverAutoSusp = SPI_MASTER_RX_AUTOSUSP_DISABLE;
  hspi1.Init.MasterKeepIOState = SPI_MASTER_KEEP_IO_STATE_DISABLE;
  hspi1.Init.IOSwap = SPI_IO_SWAP_DISABLE;
  if (HAL_SPI_Init(&hspi1) != HAL_OK)
  {
    Error_Handler();
  }

}

static void MX_SPI3_Init(void)
{

  /* SPI3 parameter configuration*/
  hspi3.Instance = SPI3;
  hspi3.Init.Mode = SPI_MODE_MASTER;
  hspi3.Init.Direction = SPI_DIRECTION_2LINES_TXONLY;
  hspi3.Init.DataSize = SPI_DATASIZE_8BIT;
  hspi3.Init.CLKPolarity = SPI_POLARITY_LOW;
  hspi3.Init.CLKPhase = SPI_PHASE_1EDGE;
  hspi3.Init.NSS = SPI_NSS_SOFT;
  hspi3.Init.BaudRatePrescaler = SPI_BAUDRATEPRESCALER_8;
  hspi3.Init.FirstBit = SPI_FIRSTBIT_MSB;
  hspi3.Init.TIMode = SPI_TIMODE_DISABLE;
  hspi3.Init.CRCCalculation = SPI_CRCCALCULATION_DISABLE;
  hspi3.Init.CRCPolynomial = 0x0;
  hspi3.Init.NSSPMode = SPI_NSS_PULSE_ENABLE;
  hspi3.Init.NSSPolarity = SPI_NSS_POLARITY_LOW;
  hspi3.Init.FifoThreshold = SPI_FIFO_THRESHOLD_01DATA;
  hspi3.Init.TxCRCInitializationPattern = SPI_CRC_INITIALIZATION_ALL_ZERO_PATTERN;
  hspi3.Init.RxCRCInitializationPattern = SPI_CRC_INITIALIZATION_ALL_ZERO_PATTERN;
  hspi3.Init.MasterSSIdleness = SPI_MASTER_SS_IDLENESS_00CYCLE;
  hspi3.Init.MasterInterDataIdleness = SPI_MASTER_INTERDATA_IDLENESS_00CYCLE;
  hspi3.Init.MasterReceiverAutoSusp = SPI_MASTER_RX_AUTOSUSP_DISABLE;
  hspi3.Init.MasterKeepIOState = SPI_MASTER_KEEP_IO_STATE_DISABLE;
  hspi3.Init.IOSwap = SPI_IO_SWAP_DISABLE;
  if (HAL_SPI_Init(&hspi3) != HAL_OK)
  {
    Error_Handler();
  }

}

static void MX_TIM1_Init(void)
{

  TIM_MasterConfigTypeDef sMasterConfig = {0};
  TIM_OC_InitTypeDef sConfigOC = {0};
  TIM_BreakDeadTimeConfigTypeDef sBreakDeadTimeConfig = {0};

  htim1.Instance = TIM1;
  htim1.Init.Prescaler = 274;
  htim1.Init.CounterMode = TIM_COUNTERMODE_UP;
  htim1.Init.Period = 19999;
  htim1.Init.ClockDivision = TIM_CLOCKDIVISION_DIV1;
  htim1.Init.RepetitionCounter = 0;
  htim1.Init.AutoReloadPreload = TIM_AUTORELOAD_PRELOAD_ENABLE;
  if (HAL_TIM_PWM_Init(&htim1) != HAL_OK)
  {
    Error_Handler();
  }
  sMasterConfig.MasterOutputTrigger = TIM_TRGO_RESET;
  sMasterConfig.MasterOutputTrigger2 = TIM_TRGO2_RESET;
  sMasterConfig.MasterSlaveMode = TIM_MASTERSLAVEMODE_DISABLE;
  if (HAL_TIMEx_MasterConfigSynchronization(&htim1, &sMasterConfig) != HAL_OK)
  {
    Error_Handler();
  }
  sConfigOC.OCMode = TIM_OCMODE_PWM1;
  sConfigOC.Pulse = 1295;
  sConfigOC.OCPolarity = TIM_OCPOLARITY_HIGH;
  sConfigOC.OCNPolarity = TIM_OCNPOLARITY_HIGH;
  sConfigOC.OCFastMode = TIM_OCFAST_DISABLE;
  sConfigOC.OCIdleState = TIM_OCIDLESTATE_RESET;
  sConfigOC.OCNIdleState = TIM_OCNIDLESTATE_RESET;
  if (HAL_TIM_PWM_ConfigChannel(&htim1, &sConfigOC, TIM_CHANNEL_1) != HAL_OK)
  {
    Error_Handler();
  }
  sConfigOC.Pulse = 2499;
  if (HAL_TIM_PWM_ConfigChannel(&htim1, &sConfigOC, TIM_CHANNEL_2) != HAL_OK)
  {
    Error_Handler();
  }
  if (HAL_TIM_PWM_ConfigChannel(&htim1, &sConfigOC, TIM_CHANNEL_3) != HAL_OK)
  {
    Error_Handler();
  }
  sConfigOC.Pulse = 1998;
  if (HAL_TIM_PWM_ConfigChannel(&htim1, &sConfigOC, TIM_CHANNEL_4) != HAL_OK)
  {
    Error_Handler();
  }
  sBreakDeadTimeConfig.OffStateRunMode = TIM_OSSR_DISABLE;
  sBreakDeadTimeConfig.OffStateIDLEMode = TIM_OSSI_DISABLE;
  sBreakDeadTimeConfig.LockLevel = TIM_LOCKLEVEL_OFF;
  sBreakDeadTimeConfig.DeadTime = 0;
  sBreakDeadTimeConfig.BreakState = TIM_BREAK_DISABLE;
  sBreakDeadTimeConfig.BreakPolarity = TIM_BREAKPOLARITY_HIGH;
  sBreakDeadTimeConfig.BreakFilter = 0;
  sBreakDeadTimeConfig.Break2State = TIM_BREAK2_DISABLE;
  sBreakDeadTimeConfig.Break2Polarity = TIM_BREAK2POLARITY_HIGH;
  sBreakDeadTimeConfig.Break2Filter = 0;
  sBreakDeadTimeConfig.AutomaticOutput = TIM_AUTOMATICOUTPUT_DISABLE;
  if (HAL_TIMEx_ConfigBreakDeadTime(&htim1, &sBreakDeadTimeConfig) != HAL_OK)
  {
    Error_Handler();
  }
  HAL_TIM_MspPostInit(&htim1);

}

static void MX_TIM2_Init(void)
{

  TIM_MasterConfigTypeDef sMasterConfig = {0};
  TIM_OC_InitTypeDef sConfigOC = {0};

  htim2.Instance = TIM2;
  htim2.Init.Prescaler = 274;
  htim2.Init.CounterMode = TIM_COUNTERMODE_UP;
  htim2.Init.Period = 19999;
  htim2.Init.ClockDivision = TIM_CLOCKDIVISION_DIV1;
  htim2.Init.AutoReloadPreload = TIM_AUTORELOAD_PRELOAD_ENABLE;
  if (HAL_TIM_PWM_Init(&htim2) != HAL_OK)
  {
    Error_Handler();
  }
  sMasterConfig.MasterOutputTrigger = TIM_TRGO_UPDATE;
  sMasterConfig.MasterSlaveMode = TIM_MASTERSLAVEMODE_ENABLE;
  if (HAL_TIMEx_MasterConfigSynchronization(&htim2, &sMasterConfig) != HAL_OK)
  {
    Error_Handler();
  }
  sConfigOC.OCMode = TIM_OCMODE_PWM1;
  sConfigOC.Pulse = 1499;
  sConfigOC.OCPolarity = TIM_OCPOLARITY_HIGH;
  sConfigOC.OCFastMode = TIM_OCFAST_DISABLE;
  if (HAL_TIM_PWM_ConfigChannel(&htim2, &sConfigOC, TIM_CHANNEL_3) != HAL_OK)
  {
    Error_Handler();
  }
  if (HAL_TIM_PWM_ConfigChannel(&htim2, &sConfigOC, TIM_CHANNEL_4) != HAL_OK)
  {
    Error_Handler();
  }
  HAL_TIM_MspPostInit(&htim2);

}

static void MX_TIM3_Init(void)
{

  TIM_MasterConfigTypeDef sMasterConfig = {0};
  TIM_OC_InitTypeDef sConfigOC = {0};

  htim3.Instance = TIM3;
  htim3.Init.Prescaler = 274;
  htim3.Init.CounterMode = TIM_COUNTERMODE_UP;
  htim3.Init.Period = 19999;
  htim3.Init.ClockDivision = TIM_CLOCKDIVISION_DIV1;
  htim3.Init.AutoReloadPreload = TIM_AUTORELOAD_PRELOAD_ENABLE;
  if (HAL_TIM_PWM_Init(&htim3) != HAL_OK)
  {
    Error_Handler();
  }
  sMasterConfig.MasterOutputTrigger = TIM_TRGO_UPDATE;
  sMasterConfig.MasterSlaveMode = TIM_MASTERSLAVEMODE_ENABLE;
  if (HAL_TIMEx_MasterConfigSynchronization(&htim3, &sMasterConfig) != HAL_OK)
  {
    Error_Handler();
  }
  sConfigOC.OCMode = TIM_OCMODE_PWM1;
  sConfigOC.Pulse = 1499;
  sConfigOC.OCPolarity = TIM_OCPOLARITY_HIGH;
  sConfigOC.OCFastMode = TIM_OCFAST_DISABLE;
  if (HAL_TIM_PWM_ConfigChannel(&htim3, &sConfigOC, TIM_CHANNEL_1) != HAL_OK)
  {
    Error_Handler();
  }
  if (HAL_TIM_PWM_ConfigChannel(&htim3, &sConfigOC, TIM_CHANNEL_2) != HAL_OK)
  {
    Error_Handler();
  }
  HAL_TIM_MspPostInit(&htim3);

}

static void MX_TIM4_Init(void)
{

  TIM_MasterConfigTypeDef sMasterConfig = {0};
  TIM_OC_InitTypeDef sConfigOC = {0};

  htim4.Instance = TIM4;
  htim4.Init.Prescaler = 274;
  htim4.Init.CounterMode = TIM_COUNTERMODE_UP;
  htim4.Init.Period = 19999;
  htim4.Init.ClockDivision = TIM_CLOCKDIVISION_DIV1;
  htim4.Init.AutoReloadPreload = TIM_AUTORELOAD_PRELOAD_ENABLE;
  if (HAL_TIM_PWM_Init(&htim4) != HAL_OK)
  {
    Error_Handler();
  }
  sMasterConfig.MasterOutputTrigger = TIM_TRGO_UPDATE;
  sMasterConfig.MasterSlaveMode = TIM_MASTERSLAVEMODE_ENABLE;
  if (HAL_TIMEx_MasterConfigSynchronization(&htim4, &sMasterConfig) != HAL_OK)
  {
    Error_Handler();
  }
  sConfigOC.OCMode = TIM_OCMODE_PWM1;
  sConfigOC.Pulse = 0;
  sConfigOC.OCPolarity = TIM_OCPOLARITY_HIGH;
  sConfigOC.OCFastMode = TIM_OCFAST_DISABLE;
  if (HAL_TIM_PWM_ConfigChannel(&htim4, &sConfigOC, TIM_CHANNEL_1) != HAL_OK)
  {
    Error_Handler();
  }
  if (HAL_TIM_PWM_ConfigChannel(&htim4, &sConfigOC, TIM_CHANNEL_2) != HAL_OK)
  {
    Error_Handler();
  }
  sConfigOC.Pulse = 1499;
  if (HAL_TIM_PWM_ConfigChannel(&htim4, &sConfigOC, TIM_CHANNEL_3) != HAL_OK)
  {
    Error_Handler();
  }
  if (HAL_TIM_PWM_ConfigChannel(&htim4, &sConfigOC, TIM_CHANNEL_4) != HAL_OK)
  {
    Error_Handler();
  }
  HAL_TIM_MspPostInit(&htim4);

}

static void MX_TIM8_Init(void)
{

  TIM_SlaveConfigTypeDef sSlaveConfig = {0};
  TIM_MasterConfigTypeDef sMasterConfig = {0};

  htim8.Instance = TIM8;
  htim8.Init.Prescaler = 0;
  htim8.Init.CounterMode = TIM_COUNTERMODE_UP;
  htim8.Init.Period = 100;
  htim8.Init.ClockDivision = TIM_CLOCKDIVISION_DIV1;
  htim8.Init.RepetitionCounter = 0;
  htim8.Init.AutoReloadPreload = TIM_AUTORELOAD_PRELOAD_ENABLE;
  if (HAL_TIM_Base_Init(&htim8) != HAL_OK)
  {
    Error_Handler();
  }
  sSlaveConfig.SlaveMode = TIM_SLAVEMODE_EXTERNAL1;
  sSlaveConfig.InputTrigger = TIM_TS_ITR0;
  if (HAL_TIM_SlaveConfigSynchro(&htim8, &sSlaveConfig) != HAL_OK)
  {
    Error_Handler();
  }
  sMasterConfig.MasterOutputTrigger = TIM_TRGO_RESET;
  sMasterConfig.MasterOutputTrigger2 = TIM_TRGO2_RESET;
  sMasterConfig.MasterSlaveMode = TIM_MASTERSLAVEMODE_DISABLE;
  if (HAL_TIMEx_MasterConfigSynchronization(&htim8, &sMasterConfig) != HAL_OK)
  {
    Error_Handler();
  }

}

static void MX_UART4_Init(void)
{

  huart4.Instance = UART4;
  huart4.Init.BaudRate = 115200;
  huart4.Init.WordLength = UART_WORDLENGTH_8B;
  huart4.Init.StopBits = UART_STOPBITS_1;
  huart4.Init.Parity = UART_PARITY_NONE;
  huart4.Init.Mode = UART_MODE_TX_RX;
  huart4.Init.HwFlowCtl = UART_HWCONTROL_NONE;
  huart4.Init.OverSampling = UART_OVERSAMPLING_16;
  huart4.Init.OneBitSampling = UART_ONE_BIT_SAMPLE_DISABLE;
  huart4.Init.ClockPrescaler = UART_PRESCALER_DIV1;
  huart4.AdvancedInit.AdvFeatureInit = UART_ADVFEATURE_NO_INIT;
  if (HAL_UART_Init(&huart4) != HAL_OK)
  {
    Error_Handler();
  }
  if (HAL_UARTEx_SetTxFifoThreshold(&huart4, UART_TXFIFO_THRESHOLD_1_8) != HAL_OK)
  {
    Error_Handler();
  }
  if (HAL_UARTEx_SetRxFifoThreshold(&huart4, UART_RXFIFO_THRESHOLD_1_8) != HAL_OK)
  {
    Error_Handler();
  }
  if (HAL_UARTEx_DisableFifoMode(&huart4) != HAL_OK)
  {
    Error_Handler();
  }

}

static void MX_UART5_Init(void)
{

  huart5.Instance = UART5;
  huart5.Init.BaudRate = 9600;
  huart5.Init.WordLength = UART_WORDLENGTH_8B;
  huart5.Init.StopBits = UART_STOPBITS_1;
  huart5.Init.Parity = UART_PARITY_NONE;
  huart5.Init.Mode = UART_MODE_TX_RX;
  huart5.Init.HwFlowCtl = UART_HWCONTROL_NONE;
  huart5.Init.OverSampling = UART_OVERSAMPLING_16;
  huart5.Init.OneBitSampling = UART_ONE_BIT_SAMPLE_DISABLE;
  huart5.Init.ClockPrescaler = UART_PRESCALER_DIV1;
  huart5.AdvancedInit.AdvFeatureInit = UART_ADVFEATURE_NO_INIT;
  if (HAL_UART_Init(&huart5) != HAL_OK)
  {
    Error_Handler();
  }
  if (HAL_UARTEx_SetTxFifoThreshold(&huart5, UART_TXFIFO_THRESHOLD_1_8) != HAL_OK)
  {
    Error_Handler();
  }
  if (HAL_UARTEx_SetRxFifoThreshold(&huart5, UART_RXFIFO_THRESHOLD_1_8) != HAL_OK)
  {
    Error_Handler();
  }
  if (HAL_UARTEx_DisableFifoMode(&huart5) != HAL_OK)
  {
    Error_Handler();
  }

}

static void MX_UART7_Init(void)
{

  huart7.Instance = UART7;
  huart7.Init.BaudRate = 9600;
  huart7.Init.WordLength = UART_WORDLENGTH_8B;
  huart7.Init.StopBits = UART_STOPBITS_1;
  huart7.Init.Parity = UART_PARITY_NONE;
  huart7.Init.Mode = UART_MODE_TX_RX;
  huart7.Init.HwFlowCtl = UART_HWCONTROL_NONE;
  huart7.Init.OverSampling = UART_OVERSAMPLING_16;
  huart7.Init.OneBitSampling = UART_ONE_BIT_SAMPLE_DISABLE;
  huart7.Init.ClockPrescaler = UART_PRESCALER_DIV1;
  huart7.AdvancedInit.AdvFeatureInit = UART_ADVFEATURE_NO_INIT;
  if (HAL_UART_Init(&huart7) != HAL_OK)
  {
    Error_Handler();
  }
  if (HAL_UARTEx_SetTxFifoThreshold(&huart7, UART_TXFIFO_THRESHOLD_1_8) != HAL_OK)
  {
    Error_Handler();
  }
  if (HAL_UARTEx_SetRxFifoThreshold(&huart7, UART_RXFIFO_THRESHOLD_1_8) != HAL_OK)
  {
    Error_Handler();
  }
  if (HAL_UARTEx_DisableFifoMode(&huart7) != HAL_OK)
  {
    Error_Handler();
  }

}

static void MX_UART8_Init(void)
{

  huart8.Instance = UART8;
  huart8.Init.BaudRate = 9600;
  huart8.Init.WordLength = UART_WORDLENGTH_8B;
  huart8.Init.StopBits = UART_STOPBITS_1;
  huart8.Init.Parity = UART_PARITY_NONE;
  huart8.Init.Mode = UART_MODE_TX_RX;
  huart8.Init.HwFlowCtl = UART_HWCONTROL_NONE;
  huart8.Init.OverSampling = UART_OVERSAMPLING_16;
  huart8.Init.OneBitSampling = UART_ONE_BIT_SAMPLE_DISABLE;
  huart8.Init.ClockPrescaler = UART_PRESCALER_DIV1;
  huart8.AdvancedInit.AdvFeatureInit = UART_ADVFEATURE_NO_INIT;
  if (HAL_UART_Init(&huart8) != HAL_OK)
  {
    Error_Handler();
  }
  if (HAL_UARTEx_SetTxFifoThreshold(&huart8, UART_TXFIFO_THRESHOLD_1_8) != HAL_OK)
  {
    Error_Handler();
  }
  if (HAL_UARTEx_SetRxFifoThreshold(&huart8, UART_RXFIFO_THRESHOLD_1_8) != HAL_OK)
  {
    Error_Handler();
  }
  if (HAL_UARTEx_DisableFifoMode(&huart8) != HAL_OK)
  {
    Error_Handler();
  }

}

static void MX_USART1_UART_Init(void)
{

  huart1.Instance = USART1;
  huart1.Init.BaudRate = 115200;
  huart1.Init.WordLength = UART_WORDLENGTH_8B;
  huart1.Init.StopBits = UART_STOPBITS_1;
  huart1.Init.Parity = UART_PARITY_NONE;
  huart1.Init.Mode = UART_MODE_TX_RX;
  huart1.Init.HwFlowCtl = UART_HWCONTROL_NONE;
  huart1.Init.OverSampling = UART_OVERSAMPLING_16;
  huart1.Init.OneBitSampling = UART_ONE_BIT_SAMPLE_DISABLE;
  huart1.Init.ClockPrescaler = UART_PRESCALER_DIV1;
  huart1.AdvancedInit.AdvFeatureInit = UART_ADVFEATURE_NO_INIT;
  if (HAL_UART_Init(&huart1) != HAL_OK)
  {
    Error_Handler();
  }
  if (HAL_UARTEx_SetTxFifoThreshold(&huart1, UART_TXFIFO_THRESHOLD_1_8) != HAL_OK)
  {
    Error_Handler();
  }
  if (HAL_UARTEx_SetRxFifoThreshold(&huart1, UART_RXFIFO_THRESHOLD_1_8) != HAL_OK)
  {
    Error_Handler();
  }
  if (HAL_UARTEx_DisableFifoMode(&huart1) != HAL_OK)
  {
    Error_Handler();
  }

}

static void MX_DMA_Init(void)
{

  /* DMA controller clock enable */
  __HAL_RCC_DMA1_CLK_ENABLE();

  /* DMA interrupt init */
  /* DMA1_Stream0_IRQn interrupt configuration */
  HAL_NVIC_SetPriority(DMA1_Stream0_IRQn, 0, 0);
  HAL_NVIC_EnableIRQ(DMA1_Stream0_IRQn);

}

static void MX_GPIO_Init(void)
{
  GPIO_InitTypeDef GPIO_InitStruct = {0};

  /* GPIO Ports Clock Enable */
  __HAL_RCC_GPIOE_CLK_ENABLE();
  __HAL_RCC_GPIOC_CLK_ENABLE();
  __HAL_RCC_GPIOF_CLK_ENABLE();
  __HAL_RCC_GPIOH_CLK_ENABLE();
  __HAL_RCC_GPIOA_CLK_ENABLE();
  __HAL_RCC_GPIOB_CLK_ENABLE();
  __HAL_RCC_GPIOD_CLK_ENABLE();
  __HAL_RCC_GPIOG_CLK_ENABLE();

  /*Configure GPIO pin Output Level */
  HAL_GPIO_WritePin(GPIOE, GPIO_PIN_10|GPIO_PIN_12, GPIO_PIN_RESET);

  /*Configure GPIO pin Output Level */
  HAL_GPIO_WritePin(GPIOB, GPIO_PIN_14|GPIO_PIN_15, GPIO_PIN_RESET);

  /*Configure GPIO pin Output Level */
  HAL_GPIO_WritePin(GPIOD, GPIO_PIN_9|GPIO_PIN_10|GPIO_PIN_11, GPIO_PIN_RESET);

  /*Configure GPIO pin Output Level */
  HAL_GPIO_WritePin(GPIOG, SPI1_SOFT_CS_Pin|SPI1_INT_PIN_Pin|SPI3_SOFT_CS_Pin|DC_Pin
                          |RES_Pin, GPIO_PIN_SET);

  /*Configure GPIO pins : PE2 PE3 PE4 */
  GPIO_InitStruct.Pin = GPIO_PIN_2|GPIO_PIN_3|GPIO_PIN_4;
  GPIO_InitStruct.Mode = GPIO_MODE_IT_RISING;
  GPIO_InitStruct.Pull = GPIO_PULLUP;
  HAL_GPIO_Init(GPIOE, &GPIO_InitStruct);

  /*Configure GPIO pin : PC0 */
  GPIO_InitStruct.Pin = GPIO_PIN_0;
  GPIO_InitStruct.Mode = GPIO_MODE_IT_FALLING;
  GPIO_InitStruct.Pull = GPIO_PULLUP;
  HAL_GPIO_Init(GPIOC, &GPIO_InitStruct);

  /*Configure GPIO pin : PA7 */
  GPIO_InitStruct.Pin = GPIO_PIN_7;
  GPIO_InitStruct.Mode = GPIO_MODE_IT_FALLING;
  GPIO_InitStruct.Pull = GPIO_PULLUP;
  HAL_GPIO_Init(GPIOA, &GPIO_InitStruct);

  /*Configure GPIO pin : PC5 */
  GPIO_InitStruct.Pin = GPIO_PIN_5;
  GPIO_InitStruct.Mode = GPIO_MODE_IT_RISING;
  GPIO_InitStruct.Pull = GPIO_PULLUP;
  HAL_GPIO_Init(GPIOC, &GPIO_InitStruct);

  /*Configure GPIO pins : PE10 PE12 */
  GPIO_InitStruct.Pin = GPIO_PIN_10|GPIO_PIN_12;
  GPIO_InitStruct.Mode = GPIO_MODE_OUTPUT_PP;
  GPIO_InitStruct.Pull = GPIO_PULLUP;
  GPIO_InitStruct.Speed = GPIO_SPEED_FREQ_LOW;
  HAL_GPIO_Init(GPIOE, &GPIO_InitStruct);

  /*Configure GPIO pins : PB14 PB15 */
  GPIO_InitStruct.Pin = GPIO_PIN_14|GPIO_PIN_15;
  GPIO_InitStruct.Mode = GPIO_MODE_OUTPUT_PP;
  GPIO_InitStruct.Pull = GPIO_PULLUP;
  GPIO_InitStruct.Speed = GPIO_SPEED_FREQ_LOW;
  HAL_GPIO_Init(GPIOB, &GPIO_InitStruct);

  /*Configure GPIO pin : PD8 */
  GPIO_InitStruct.Pin = GPIO_PIN_8;
  GPIO_InitStruct.Mode = GPIO_MODE_IT_FALLING;
  GPIO_InitStruct.Pull = GPIO_PULLDOWN;
  HAL_GPIO_Init(GPIOD, &GPIO_InitStruct);

  /*Configure GPIO pins : PD9 PD10 PD11 */
  GPIO_InitStruct.Pin = GPIO_PIN_9|GPIO_PIN_10|GPIO_PIN_11;
  GPIO_InitStruct.Mode = GPIO_MODE_OUTPUT_PP;
  GPIO_InitStruct.Pull = GPIO_PULLUP;
  GPIO_InitStruct.Speed = GPIO_SPEED_FREQ_LOW;
  HAL_GPIO_Init(GPIOD, &GPIO_InitStruct);

  /*Configure GPIO pins : SPI1_SOFT_CS_Pin SPI1_INT_PIN_Pin SPI3_SOFT_CS_Pin DC_Pin
                           RES_Pin */
  GPIO_InitStruct.Pin = SPI1_SOFT_CS_Pin|SPI1_INT_PIN_Pin|SPI3_SOFT_CS_Pin|DC_Pin
                          |RES_Pin;
  GPIO_InitStruct.Mode = GPIO_MODE_OUTPUT_PP;
  GPIO_InitStruct.Pull = GPIO_PULLUP;
  GPIO_InitStruct.Speed = GPIO_SPEED_FREQ_HIGH;
  HAL_GPIO_Init(GPIOG, &GPIO_InitStruct);

  /* EXTI interrupt init*/
  HAL_NVIC_SetPriority(EXTI0_IRQn, 2, 0);
  HAL_NVIC_EnableIRQ(EXTI0_IRQn);

  HAL_NVIC_SetPriority(EXTI2_IRQn, 2, 0);
  HAL_NVIC_EnableIRQ(EXTI2_IRQn);

  HAL_NVIC_SetPriority(EXTI3_IRQn, 2, 0);
  HAL_NVIC_EnableIRQ(EXTI3_IRQn);

  HAL_NVIC_SetPriority(EXTI4_IRQn, 2, 0);
  HAL_NVIC_EnableIRQ(EXTI4_IRQn);

  HAL_NVIC_SetPriority(EXTI9_5_IRQn, 2, 0);
  HAL_NVIC_EnableIRQ(EXTI9_5_IRQn);

}

/* MPU Configuration */

void MPU_Config(void)
{
  MPU_Region_InitTypeDef MPU_InitStruct = {0};

  /* Disables the MPU */
  HAL_MPU_Disable();

  /** Initializes and configures the Region and the memory to be protected
  */
  MPU_InitStruct.Enable = MPU_REGION_ENABLE;
  MPU_InitStruct.Number = MPU_REGION_NUMBER0;
  MPU_InitStruct.BaseAddress = 0x0;
  MPU_InitStruct.Size = MPU_REGION_SIZE_4GB;
  MPU_InitStruct.SubRegionDisable = 0x87;
  MPU_InitStruct.TypeExtField = MPU_TEX_LEVEL0;
  MPU_InitStruct.AccessPermission = MPU_REGION_NO_ACCESS;
  MPU_InitStruct.DisableExec = MPU_INSTRUCTION_ACCESS_DISABLE;
  MPU_InitStruct.IsShareable = MPU_ACCESS_SHAREABLE;
  MPU_InitStruct.IsCacheable = MPU_ACCESS_NOT_CACHEABLE;
  MPU_InitStruct.IsBufferable = MPU_ACCESS_NOT_BUFFERABLE;

  HAL_MPU_ConfigRegion(&MPU_InitStruct);
  /* Enables the MPU */
  HAL_MPU_Enable(MPU_PRIVILEGED_DEFAULT);

}

void Error_Handler(void)
{
  __disable_irq();
  while (1)
  {
  }
}
